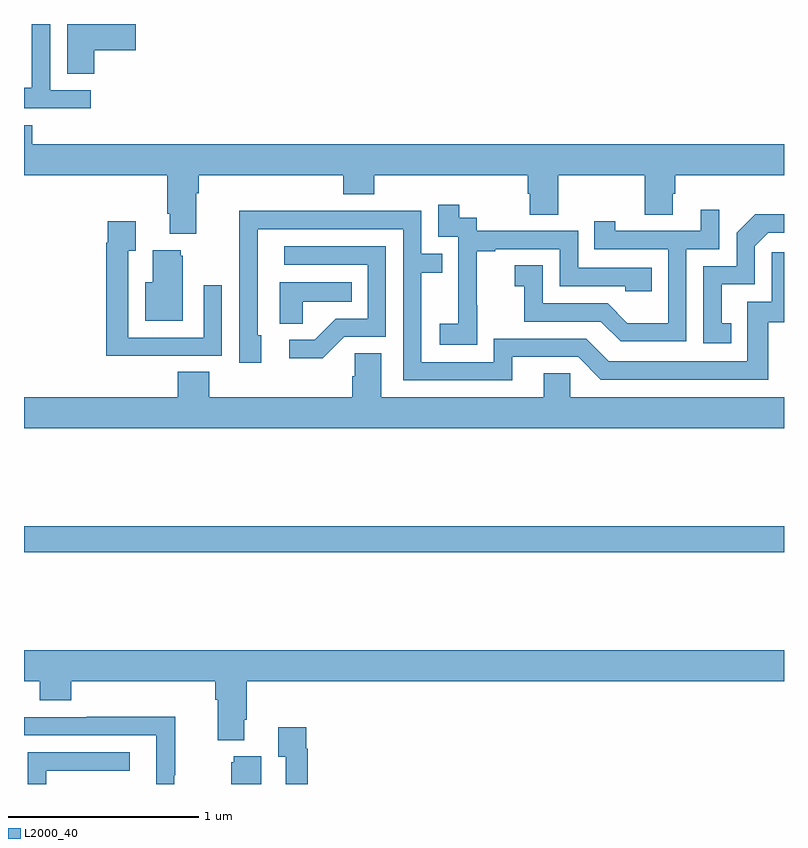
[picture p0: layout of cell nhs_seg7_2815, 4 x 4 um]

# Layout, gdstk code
import gdstk
lib = gdstk.Library(unit=1e-6, precision=1e-09)
def R(c, l, rs):  # rectangles x0, y0, x1, y1
    for r in rs: c.add(gdstk.rectangle(r[:2], r[2:], *l))
def P(c, l, *ps):  # polygons
    for p in ps: c.add(gdstk.Polygon(p, *l))
L2000_40 = (2000, 40)

nhs_seg7_2815 = lib.new_cell('nhs_seg7_2815')
R(nhs_seg7_2815, L2000_40, [(291,1077.22,295,1077.356)])
P(nhs_seg7_2815, L2000_40, [(291.371,1079.861),(291.589,1079.861),(291.589,1080),(291.227,1080),(291.227,1079.737),(291.371,1079.737)],
  [(291.352,1079.652),(291.138,1079.652),(291.138,1080),(291.042,1080),(291.042,1079.888),(291.04,1079.888),(291.04,1079.665),(291,1079.665),(291,1079.556),(291.352,1079.556)],
  [(291.907,1079.108),(291.92,1079.108),(291.92,1079.204),(292.679,1079.204),(292.679,1079.105),(292.844,1079.105),(292.844,1079.204),(293.651,1079.204),(293.651,1079.106),(293.663,1079.106),(293.663,1078.996),(293.811,1078.996),(293.811,1079.204),(294.268,1079.204),(294.268,1078.996),(294.415,1078.996),(294.415,1079.106),(294.428,1079.106),(294.428,1079.204),(295,1079.204),(295,1079.368),(291.044,1079.368),(291.044,1079.467),(291,1079.467),(291,1079.204),(291.755,1079.204),(291.755,1079.002),(291.767,1079.002),(291.767,1078.895),(291.907,1078.895)],
  [(293.385,1078.519),(293.384,1078.519),(293.384,1078.803),(293.479,1078.803),(293.479,1078.815),(293.82,1078.815),(293.82,1078.62),(294.165,1078.62),(294.165,1078.593),(294.305,1078.593),(294.305,1078.716),(293.916,1078.716),(293.916,1078.911),(293.382,1078.911),(293.382,1078.98),(293.29,1078.98),(293.29,1079.05),(293.181,1079.05),(293.181,1078.881),(293.286,1078.881),(293.286,1078.652),(293.285,1078.652),(293.285,1078.423),(293.187,1078.423),(293.187,1078.313),(293.385,1078.313)],
  [(294.486,1078.815),(294.66,1078.815),(294.66,1079.023),(294.563,1079.023),(294.563,1078.911),(294.112,1078.911),(294.112,1078.963),(294.001,1078.963),(294.001,1078.815),(294.39,1078.815),(294.39,1078.426),(294.176,1078.426),(294.072,1078.53),(293.73,1078.53),(293.73,1078.729),(293.583,1078.729),(293.583,1078.619),(293.632,1078.619),(293.632,1078.434),(294.035,1078.434),(294.14,1078.329),(294.486,1078.329)],
  [(293.569,1078.248),(293.916,1078.248),(294.036,1078.128),(294.916,1078.128),(294.916,1078.431),(295,1078.431),(295,1078.798),(294.936,1078.798),(294.936,1078.539),(294.807,1078.539),(294.807,1078.224),(294.078,1078.224),(293.958,1078.344),(293.472,1078.344),(293.472,1078.221),(293.091,1078.221),(293.091,1078.69),(293.201,1078.69),(293.201,1078.791),(293.091,1078.791),(293.091,1079.016),(292.595,1079.016),(292.595,1079.018),(292.132,1079.018),(292.132,1078.711),(292.134,1078.711),(292.134,1078.218),(292.249,1078.218),(292.249,1078.362),(292.23,1078.362),(292.23,1078.92),(292.995,1078.92),(292.995,1078.125),(293.569,1078.125)],
  [(294.722,1078.425),(294.673,1078.425),(294.673,1078.629),(294.846,1078.629),(294.846,1078.83),(294.918,1078.902),(295,1078.902),(295,1079),(294.848,1079),(294.75,1078.902),(294.75,1078.725),(294.576,1078.725),(294.576,1078.32),(294.722,1078.32)],
  [(291.725,1078.254),(292.041,1078.254),(292.041,1078.624),(291.945,1078.624),(291.945,1078.35),(291.549,1078.35),(291.549,1078.807),(291.589,1078.807),(291.589,1078.963),(291.441,1078.963),(291.441,1078.85),(291.433,1078.85),(291.433,1078.253),(291.725,1078.253)],
  [(292.686,1078.353),(292.905,1078.353),(292.905,1078.83),(292.371,1078.83),(292.371,1078.734),(292.809,1078.734),(292.809,1078.449),(292.64,1078.449),(292.529,1078.338),(292.395,1078.338),(292.395,1078.241),(292.573,1078.241)],
  [(291.835,1078.779),(291.824,1078.779),(291.824,1078.81),(291.677,1078.81),(291.677,1078.642),(291.638,1078.642),(291.638,1078.439),(291.835,1078.439)],
  [(292.467,1078.538),(292.724,1078.538),(292.724,1078.642),(292.346,1078.642),(292.346,1078.423),(292.467,1078.423)],
  [(295,1078.036),(293.874,1078.036),(293.874,1078.163),(293.735,1078.163),(293.735,1078.036),(292.879,1078.036),(292.879,1078.268),(292.74,1078.268),(292.74,1078.145),(292.727,1078.145),(292.727,1078.036),(291.974,1078.036),(291.974,1078.169),(291.809,1078.169),(291.809,1078.036),(291,1078.036),(291,1077.872),(295,1077.872)],
  [(292.159,1076.338),(292.172,1076.338),(292.172,1076.54),(295,1076.54),(295,1076.704),(291,1076.704),(291,1076.54),(291.083,1076.54),(291.083,1076.441),(291.248,1076.441),(291.248,1076.54),(292.007,1076.54),(292.007,1076.444),(292.019,1076.444),(292.019,1076.231),(292.159,1076.231)],
  [(291.792,1076.047),(291.795,1076.047),(291.795,1076.354),(291.331,1076.354),(291.331,1076.352),(291,1076.352),(291,1076.256),(291.696,1076.256),(291.696,1076),(291.792,1076)],
  [(292.493,1076.186),(292.486,1076.186),(292.486,1076.299),(292.337,1076.299),(292.337,1076.143),(292.377,1076.143),(292.377,1076),(292.493,1076)],
  [(291.117,1076.07),(291.556,1076.07),(291.556,1076.166),(291.021,1076.166),(291.021,1076),(291.117,1076)],
  [(292.249,1076.146),(292.103,1076.146),(292.103,1076.115),(292.091,1076.115),(292.091,1076),(292.249,1076)])

lib.write_gds('nhs_seg7_2815.gds')
